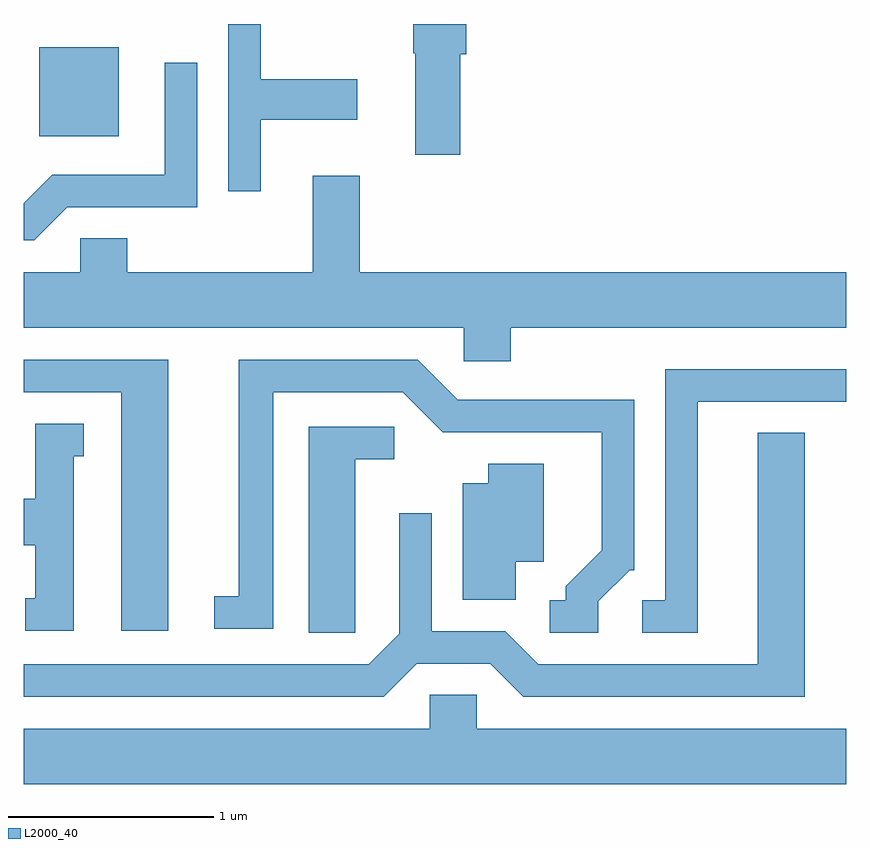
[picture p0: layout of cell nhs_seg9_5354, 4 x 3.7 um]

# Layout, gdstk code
import gdstk
lib = gdstk.Library(unit=1e-6, precision=1e-09)
def R(c, l, rs):  # rectangles x0, y0, x1, y1
    for r in rs: c.add(gdstk.rectangle(r[:2], r[2:], *l))
def P(c, l, *ps):  # polygons
    for p in ps: c.add(gdstk.Polygon(p, *l))
L2000_40 = (2000, 40)

nhs_seg9_5354 = lib.new_cell('nhs_seg9_5354')
R(nhs_seg9_5354, L2000_40, [(343.686,1963.886,344.074,1964.319)])
P(nhs_seg9_5354, L2000_40, [(345.734,1964.286),(345.764,1964.286),(345.764,1964.432),(345.506,1964.432),(345.506,1964.29),(345.516,1964.29),(345.516,1963.796),(345.734,1963.796)],
  [(344.764,1963.966),(345.234,1963.966),(345.234,1964.164),(344.764,1964.164),(344.764,1964.432),(344.606,1964.432),(344.606,1963.618),(344.764,1963.618)],
  [(343.822,1963.541),(344.454,1963.541),(344.454,1964.243),(344.296,1964.243),(344.296,1963.699),(343.749,1963.699),(343.611,1963.561),(343.611,1963.381),(343.662,1963.381)],
  [(345.979,1962.956),(347.611,1962.956),(347.611,1963.224),(345.244,1963.224),(345.244,1963.694),(345.016,1963.694),(345.016,1963.224),(344.114,1963.224),(344.114,1963.389),(343.886,1963.389),(343.886,1963.224),(343.611,1963.224),(343.611,1962.956),(345.751,1962.956),(345.751,1962.791),(345.979,1962.791)],
  [(344.314,1962.799),(343.611,1962.799),(343.611,1962.641),(344.086,1962.641),(344.086,1961.481),(344.314,1961.481)],
  [(346.404,1961.624),(346.557,1961.776),(346.579,1961.776),(346.579,1962.604),(345.722,1962.604),(345.527,1962.799),(344.656,1962.799),(344.656,1961.649),(344.538,1961.649),(344.538,1961.491),(344.824,1961.491),(344.824,1962.641),(345.454,1962.641),(345.649,1962.446),(346.421,1962.446),(346.421,1961.872),(346.246,1961.697),(346.246,1961.629),(346.168,1961.629),(346.168,1961.471),(346.404,1961.471)],
  [(346.889,1962.596),(347.611,1962.596),(347.611,1962.754),(346.731,1962.754),(346.731,1961.629),(346.618,1961.629),(346.618,1961.471),(346.889,1961.471)],
  [(343.854,1962.331),(343.903,1962.331),(343.903,1962.489),(343.666,1962.489),(343.666,1962.124),(343.611,1962.124),(343.611,1961.896),(343.666,1961.896),(343.666,1961.639),(343.618,1961.639),(343.618,1961.481),(343.854,1961.481)],
  [(345.224,1962.316),(345.413,1962.316),(345.413,1962.474),(344.996,1962.474),(344.996,1961.471),(345.224,1961.471)],
  [(345.522,1961.321),(345.879,1961.321),(346.039,1961.161),(347.409,1961.161),(347.409,1962.444),(347.181,1962.444),(347.181,1961.319),(346.112,1961.319),(345.952,1961.479),(345.594,1961.479),(345.594,1962.053),(345.436,1962.053),(345.436,1961.467),(345.289,1961.319),(343.611,1961.319),(343.611,1961.161),(345.362,1961.161)],
  [(346.004,1961.816),(346.139,1961.816),(346.139,1962.294),(345.871,1962.294),(345.871,1962.199),(345.746,1962.199),(345.746,1961.631),(346.004,1961.631)],
  [(347.611,1961.004),(345.814,1961.004),(345.814,1961.169),(345.586,1961.169),(345.586,1961.004),(343.611,1961.004),(343.611,1960.736),(347.611,1960.736)])

lib.write_gds('nhs_seg9_5354.gds')
